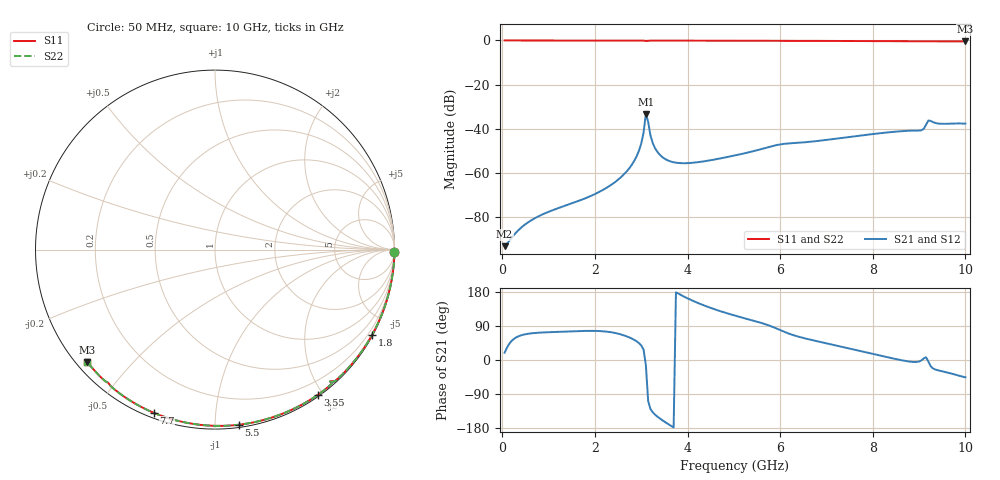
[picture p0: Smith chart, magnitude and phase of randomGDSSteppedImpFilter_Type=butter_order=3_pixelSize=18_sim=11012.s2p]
! freq	dB(S11)	phase(S11)	dB(S12)	phase(S12)
!  dB(S21)	phase(S21)	dB(S22)	phase(S22)
!S-par simulation data
#  GHz  S  DB  R 50
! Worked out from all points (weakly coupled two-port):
!   200 points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, 50 MHz to 10 GHz, reference 50 ohm
!   highest |S21| = -33.34 dB at 3.1 GHz (marker M1); lowest = -93.2 dB at 50 MHz (marker M2)
!   lowest |S11| = -0.5 dB at 10 GHz (marker M3), VSWR 37.52, Z = 1.52 - j18.9 ohm
!   |S11| at or under -10 dB: nowhere
!   |S22| runs from -0.5 to 0.0 dB; largest |S21 - S12| = 0
!   S11 on the Smith chart (normalised r, x): 50 MHz: open; 1.8 GHz: 0.03, -3.94; 3.55 GHz: 0.02, -1.93; 5.5 GHz: 0.02, -1.15; 7.7 GHz: 0.02, -0.69; 10 GHz: 0.03, -0.38
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0.05  -0.00 -0.8  -93.24 19.2  -93.24 19.2  -0.00 -0.8
0.75  -0.01 -12.0  -80.05 71.7  -80.05 71.7  -0.01 -12.0
1.75  -0.04 -27.7  -71.92 76.7  -71.92 76.7  -0.04 -27.7
1.8  -0.04 -28.5  -71.48 76.8  -71.48 76.8  -0.04 -28.5
2.35  -0.05 -36.9  -65.47 73.3  -65.47 73.3  -0.05 -36.9
2.75  -0.06 -43.0  -57.75 59.2  -57.75 59.2  -0.06 -43.0
2.9  -0.06 -45.3  -52.56 49.4  -52.56 49.4  -0.06 -45.4
3  -0.07 -47.0  -46.76 38.5  -46.76 38.5  -0.07 -47.0
3.05  -0.08 -47.9  -41.85 27.5  -41.85 27.5  -0.08 -47.9
3.1  -0.22 -48.9  -33.34 -12.8  -33.34 -12.8  -0.22 -48.9
3.25  -0.07 -50.2  -46.59 -138.3  -46.59 -138.3  -0.07 -50.2
3.4  -0.07 -52.5  -51.79 -154.1  -51.79 -154.1  -0.07 -52.5
3.55  -0.07 -54.7  -54.13 -166.6  -54.13 -166.6  -0.07 -54.7
4.05  -0.09 -62.0  -55.55 159.8  -55.55 159.8  -0.09 -62.0
5.05  -0.12 -76.1  -52.00 116.3  -52.00 116.3  -0.12 -76.1
5.5  -0.13 -82.2  -49.76 101.2  -49.76 101.2  -0.13 -82.2
6.7  -0.19 -97.9  -45.81 52.3  -45.81 52.3  -0.19 -97.9
7.7  -0.25 -110.6  -43.19 24.6  -43.19 24.6  -0.25 -110.6
8.35  -0.30 -118.6  -41.62 6.4  -41.62 6.4  -0.30 -118.6
9.05  -0.38 -127.3  -40.71 -1.2  -40.71 -1.2  -0.38 -127.3
9.2  -0.43 -128.8  -36.31 -3.9  -36.31 -3.9  -0.43 -128.8
10  -0.46 -138.6  -37.68 -45.7  -37.68 -45.7  -0.46 -138.6
